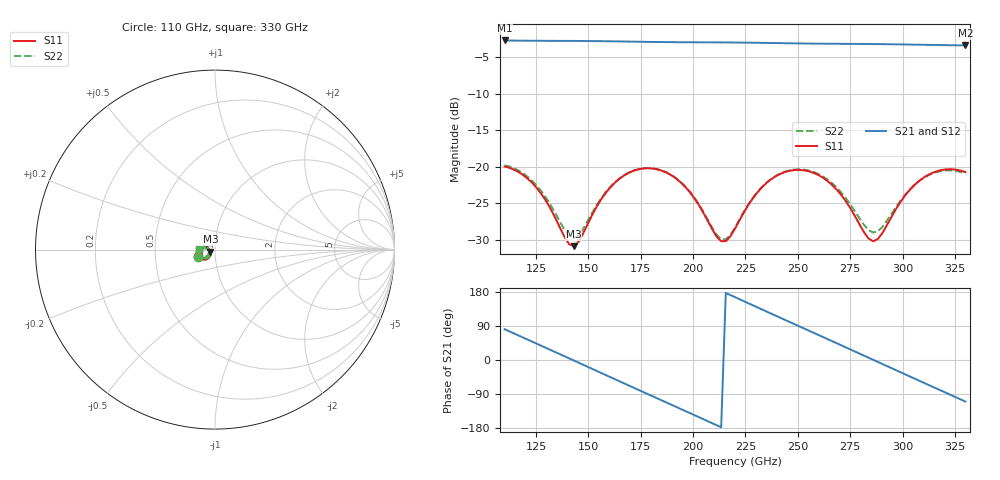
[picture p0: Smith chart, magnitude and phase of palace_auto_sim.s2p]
#  GHZ S DB R 50
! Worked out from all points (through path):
!   101 points, 110 GHz to 330 GHz, reference 50 ohm
!   highest |S21| = -2.72 dB at 110 GHz (marker M1); lowest = -3.4 dB at 330 GHz (marker M2)
!   group delay of S21, straight-line fit = 6.96 ps
!   lowest |S11| = -30.9 dB at 143 GHz (marker M3), VSWR 1.06, Z = 47.5 - j1.12 ohm
!   |S11| at or under -10 dB: start of sweep to end of sweep
!   |S22| runs from -30.0 to -19.8 dB; largest |S21 - S12| = 8.1e-14
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110  -19.99 -159.0  -2.72 81.2  -2.72 81.2  -19.83 -157.4
127.6  -23.77 172.1  -2.77 37.4  -2.77 37.4  -23.40 174.6
143  -30.91 -155.5  -2.79 -1.2  -2.79 -1.2  -29.82 -157.9
147.4  -29.22 -134.0  -2.80 -12.3  -2.80 -12.3  -28.59 -138.7
156.2  -24.45 -126.7  -2.82 -34.4  -2.82 -34.4  -24.31 -130.0
167.2  -21.20 -141.1  -2.87 -62.0  -2.87 -62.0  -21.16 -143.0
176  -20.27 -156.7  -2.91 -84.1  -2.91 -84.1  -20.24 -158.0
184.8  -20.54 -172.6  -2.94 -106.0  -2.94 -106.0  -20.51 -173.5
195.8  -22.65 170.4  -2.97 -133.5  -2.97 -133.5  -22.59 169.8
204.6  -26.18 165.5  -2.98 -155.5  -2.98 -155.5  -26.05 165.3
213.4  -30.23 -170.0  -2.99 -177.6  -2.99 -177.6  -29.97 -170.9
220  -28.52 -140.6  -3.01 165.8  -3.01 165.8  -28.37 -142.2
228.8  -24.24 -134.8  -3.04 143.7  -3.04 143.7  -24.18 -135.9
239.8  -21.27 -148.2  -3.08 116.1  -3.08 116.1  -21.22 -148.8
248.6  -20.48 -162.8  -3.12 94.1  -3.12 94.1  -20.40 -163.2
257.4  -20.85 -177.8  -3.15 72.1  -3.15 72.1  -20.73 -177.7
272.8  -24.71 163.6  -3.19 33.6  -3.19 33.6  -24.30 164.7
286  -30.23 -166.7  -3.22 0.5  -3.22 0.5  -29.04 -170.4
294.8  -26.85 -137.0  -3.24 -21.6  -3.24 -21.6  -26.45 -144.4
312.4  -21.11 -150.1  -3.33 -65.8  -3.33 -65.8  -21.18 -155.5
321.2  -20.38 -164.1  -3.37 -87.8  -3.37 -87.8  -20.52 -169.4
330  -20.76 -178.0  -3.40 -109.7  -3.40 -109.7  -20.98 176.4
